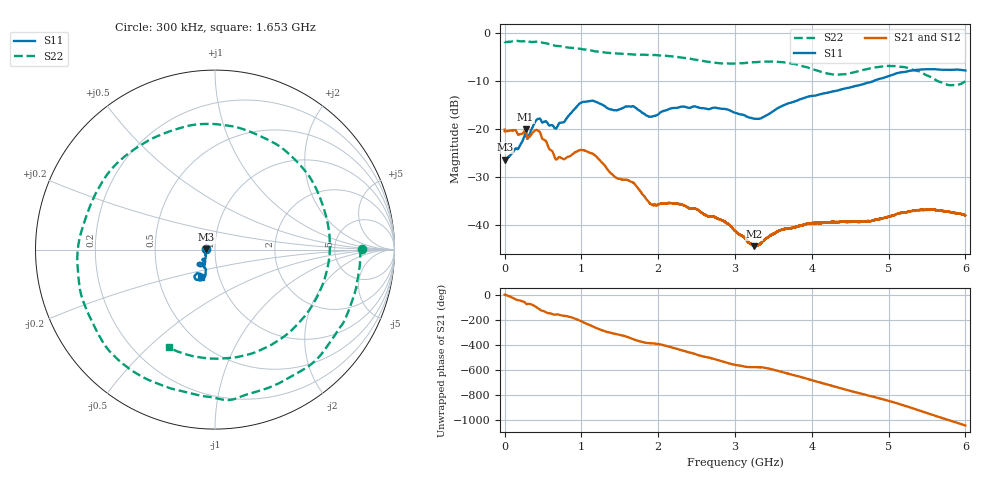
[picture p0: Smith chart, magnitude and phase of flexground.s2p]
!  7/30/2020  14:19:40
! Ref Plane: 0.000 mm
# MHZ S MA R  50
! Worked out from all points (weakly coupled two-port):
!   10001 points, 300 kHz to 6 GHz, reference 50 ohm
!   highest |S21| = -20.05 dB at 273.3 MHz (marker M1); lowest = -44.4 dB at 3.249 GHz (marker M2)
!   lowest |S11| = -26.3 dB at 900 kHz (marker M3), VSWR 1.10, Z = 45.4 + j0.0951 ohm
!   |S11| at or under -10 dB: start of sweep to 4.8 GHz
!   |S22| runs from -10.8 to -1.5 dB; largest |S21 - S12| = 0.0025
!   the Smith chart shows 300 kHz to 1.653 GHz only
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0.3  0.04899 177.5  0.09886 -1.1  0.09655 -0.6  0.8166 0.1
0.9  0.04828 178.8  0.09482 -0.4  0.09538 -0.2  0.8113 -0.1
273.2864  0.09119 -137.6  0.09941 -68.2  0.09946 -68.3  0.8336 -80.6
596.6702  0.1097 -135.0  0.06086 -150.7  0.06094 -150.6  0.7689 -176.8
816.2592  0.1327 -113.1  0.05117 -173.3  0.05125 -173.3  0.7128 122.8
1000.45  0.1895 -115.2  0.06068 146.3  0.06067 146.4  0.6833 71.1
1256.637  0.1828 -127.8  0.04588 78.6  0.04582 78.6  0.639 -2.2
1534.423  0.1661 -114.9  0.02985 34.6  0.02977 34.6  0.6094 -81.8
1788.211  0.1487 -116.0  0.02133 -17.4  0.02134 -17.3  0.5996 -153.2
2000.6  0.1428 -95.5  0.01632 -33.5  0.01628 -33.4  0.5894 149.7
2251.387  0.1672 -88.9  0.01667 -73.1  0.01665 -73.0  0.567 83.7
2530.974  0.1678 -85.4  0.01408 -123.8  0.01409 -123.7  0.5244 7.9
2785.361  0.1651 -76.8  0.01162 -163.2  0.01157 -163.1  0.4884 -65.5
3000.15  0.1484 -72.0  0.008698 161.0  0.008708 161.2  0.4844 -128.9
3249.138  0.1288 -54.1  0.006034 142.0  0.006088 142.3  0.4987 162.4
3578.521  0.1693 -26.7  0.008727 109.7  0.008787 109.8  0.5021 79.3
4000.3  0.2221 -17.2  0.01051 39.0  0.01043 38.9  0.4257 -29.2
4233.688  0.2431 -11.7  0.01068 -1.4  0.01069 -1.2  0.3773 -99.7
4497.675  0.2719 -5.4  0.01081 -45.5  0.01084 -45.8  0.3819 176.8
5000.45  0.3581 2.3  0.01224 -125.8  0.0122 -126.0  0.4556 46.8
5517.624  0.4221 -4.3  0.01448 134.6  0.01448 134.4  0.3589 -78.3
6000  0.4099 -12.1  0.01266 38.7  0.01276 38.9  0.3141 122.8
